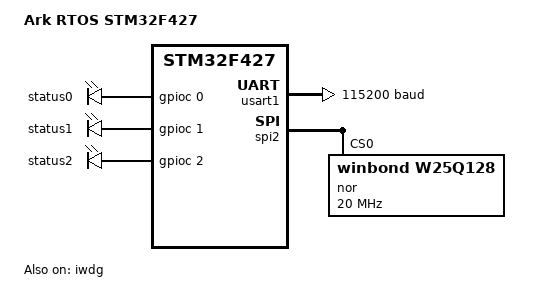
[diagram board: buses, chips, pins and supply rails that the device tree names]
/*
 * Ark RTOS board: STM32F427 (the primary board).
 *
 * Hardware as wired on the board:
 *   USART1 PA9/PA10  - kernel console, 115200 8N1
 *   SPI2  PB13/PB14/PB15 + PE15 chip select - W25Q128 NOR (16 MiB)
 *   GPIOC PC0/PC1/PC2 - status LEDs
 *   IWDG             - owned by the kernel guard
 */

/dts-v1/;

/include/ "stm32f4.dtsi"

/ {
	model = "Ark RTOS STM32F427";
	compatible = "ark,stm32f427";

	chosen {
		stdout-path = &usart1;
	};

	leds {
		compatible = "gpio-leds";

		led0 {
			label = "status0";
			gpios = <&gpioc 0 0>;
		};
		led1 {
			label = "status1";
			gpios = <&gpioc 1 0>;
		};
		led2 {
			label = "status2";
			gpios = <&gpioc 2 0>;
		};
	};
};

&usart1 {
	status = "okay";
	current-speed = <115200>;
	/* PA9 TX, PA10 RX as AF7 */
	pinctrl-0 = <9 10>;
};

&gpioa {
	status = "okay";
};

&gpioc {
	status = "okay";
};

&gpioe {
	status = "okay";
};

&spi2 {
	status = "okay";
	spi-max-frequency = <20000000>;

	nor: flash@0 {
		compatible = "winbond,w25q128";
		reg = <0 0x1000000>;
		spi-max-frequency = <20000000>;
	};
};

&iwdg {
	status = "okay";
	timeout-ms = <4000>;
};
